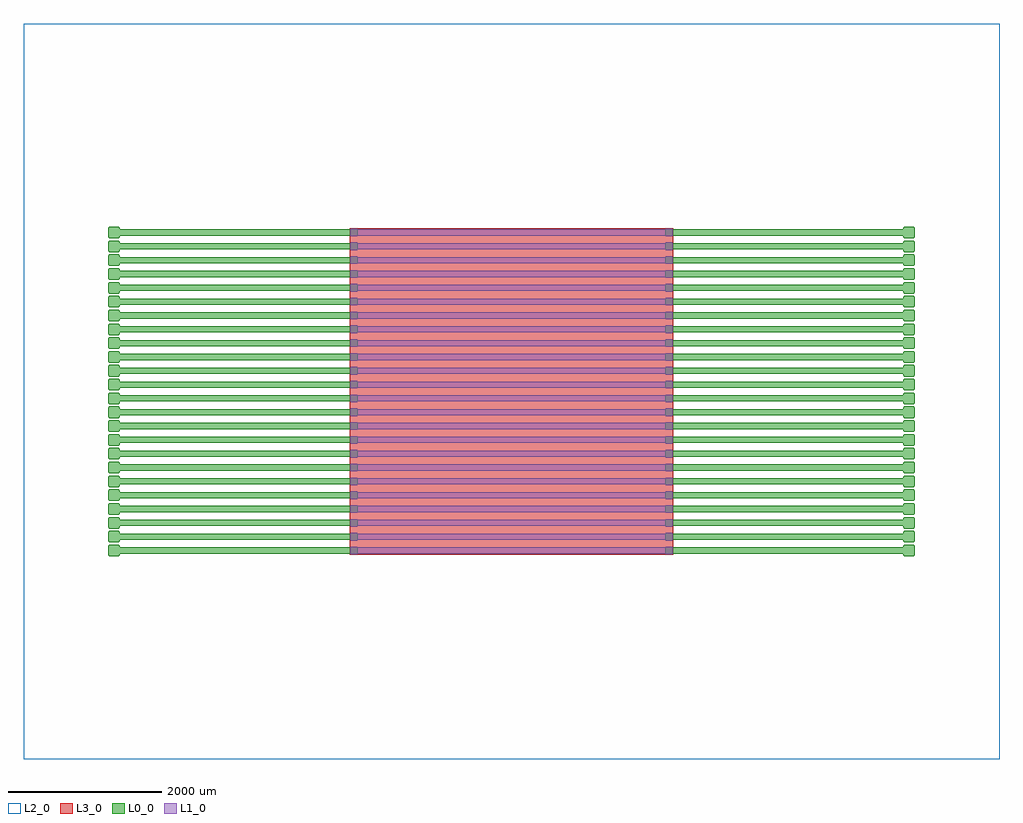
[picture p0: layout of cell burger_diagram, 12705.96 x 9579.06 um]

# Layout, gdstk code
import gdstk
lib = gdstk.Library(unit=1e-6, precision=1e-09)
def R(c, l, rs):  # rectangles x0, y0, x1, y1
    for r in rs: c.add(gdstk.rectangle(r[:2], r[2:], *l))
def P(c, l, *ps):  # polygons
    for p in ps: c.add(gdstk.Polygon(p, *l))
L0_0 = (0, 0)
L1_0 = (1, 0)
L2_0 = (2, 0)
L3_0 = (3, 0)

burger_diagram = lib.new_cell('burger_diagram')
P(burger_diagram, L0_0, [(101264.427,-74124.5),(101249.427,-74109.5),(101249.427,-74089.5),(98249.427,-74089.5),(98239.427,-74099.5),(98159.427,-74099.5),(98149.427,-74089.5),(98149.427,-74009.5),(98159.427,-73999.5),(98239.427,-73999.5),(98249.427,-74009.5),(101249.427,-74009.5),(101249.427,-73989.5),(101264.427,-73974.5),(101384.427,-73974.5),(101399.427,-73989.5),(101399.427,-74109.5),(101384.427,-74124.5)],
  [(101264.427,-75204.5),(101249.427,-75189.5),(101249.427,-75169.5),(98249.427,-75169.5),(98239.427,-75179.5),(98159.427,-75179.5),(98149.427,-75169.5),(98149.427,-75089.5),(98159.427,-75079.5),(98239.427,-75079.5),(98249.427,-75089.5),(101249.427,-75089.5),(101249.427,-75069.5),(101264.427,-75054.5),(101384.427,-75054.5),(101399.427,-75069.5),(101399.427,-75189.5),(101384.427,-75204.5)],
  [(90914.427,-75204.5),(90899.427,-75189.5),(90899.427,-75069.5),(90914.427,-75054.5),(91034.427,-75054.5),(91049.427,-75069.5),(91049.427,-75089.5),(94049.427,-75089.5),(94059.427,-75079.5),(94139.427,-75079.5),(94149.427,-75089.5),(94149.427,-75169.5),(94139.427,-75179.5),(94059.427,-75179.5),(94049.427,-75169.5),(91049.427,-75169.5),(91049.427,-75189.5),(91034.427,-75204.5)],
  [(90914.427,-75384.5),(90899.427,-75369.5),(90899.427,-75249.5),(90914.427,-75234.5),(91034.427,-75234.5),(91049.427,-75249.5),(91049.427,-75269.5),(94049.427,-75269.5),(94059.427,-75259.5),(94139.427,-75259.5),(94149.427,-75269.5),(94149.427,-75349.5),(94139.427,-75359.5),(94059.427,-75359.5),(94049.427,-75349.5),(91049.427,-75349.5),(91049.427,-75369.5),(91034.427,-75384.5)],
  [(90914.427,-76284.5),(90899.427,-76269.5),(90899.427,-76149.5),(90914.427,-76134.5),(91034.427,-76134.5),(91049.427,-76149.5),(91049.427,-76169.5),(94049.427,-76169.5),(94059.427,-76159.5),(94139.427,-76159.5),(94149.427,-76169.5),(94149.427,-76249.5),(94139.427,-76259.5),(94059.427,-76259.5),(94049.427,-76249.5),(91049.427,-76249.5),(91049.427,-76269.5),(91034.427,-76284.5)],
  [(101264.427,-77004.5),(101249.427,-76989.5),(101249.427,-76969.5),(98249.427,-76969.5),(98239.427,-76979.5),(98159.427,-76979.5),(98149.427,-76969.5),(98149.427,-76889.5),(98159.427,-76879.5),(98239.427,-76879.5),(98249.427,-76889.5),(101249.427,-76889.5),(101249.427,-76869.5),(101264.427,-76854.5),(101384.427,-76854.5),(101399.427,-76869.5),(101399.427,-76989.5),(101384.427,-77004.5)],
  [(90914.427,-74664.5),(90899.427,-74649.5),(90899.427,-74529.5),(90914.427,-74514.5),(91034.427,-74514.5),(91049.427,-74529.5),(91049.427,-74549.5),(94049.427,-74549.5),(94059.427,-74539.5),(94139.427,-74539.5),(94149.427,-74549.5),(94149.427,-74629.5),(94139.427,-74639.5),(94059.427,-74639.5),(94049.427,-74629.5),(91049.427,-74629.5),(91049.427,-74649.5),(91034.427,-74664.5)],
  [(101264.427,-77544.5),(101249.427,-77529.5),(101249.427,-77509.5),(98249.427,-77509.5),(98239.427,-77519.5),(98159.427,-77519.5),(98149.427,-77509.5),(98149.427,-77429.5),(98159.427,-77419.5),(98239.427,-77419.5),(98249.427,-77429.5),(101249.427,-77429.5),(101249.427,-77409.5),(101264.427,-77394.5),(101384.427,-77394.5),(101399.427,-77409.5),(101399.427,-77529.5),(101384.427,-77544.5)],
  [(101264.427,-73764.5),(101249.427,-73749.5),(101249.427,-73729.5),(98249.427,-73729.5),(98239.427,-73739.5),(98159.427,-73739.5),(98149.427,-73729.5),(98149.427,-73649.5),(98159.427,-73639.5),(98239.427,-73639.5),(98249.427,-73649.5),(101249.427,-73649.5),(101249.427,-73629.5),(101264.427,-73614.5),(101384.427,-73614.5),(101399.427,-73629.5),(101399.427,-73749.5),(101384.427,-73764.5)],
  [(101264.427,-74484.5),(101249.427,-74469.5),(101249.427,-74449.5),(98249.427,-74449.5),(98239.427,-74459.5),(98159.427,-74459.5),(98149.427,-74449.5),(98149.427,-74369.5),(98159.427,-74359.5),(98239.427,-74359.5),(98249.427,-74369.5),(101249.427,-74369.5),(101249.427,-74349.5),(101264.427,-74334.5),(101384.427,-74334.5),(101399.427,-74349.5),(101399.427,-74469.5),(101384.427,-74484.5)],
  [(101264.427,-73404.5),(101249.427,-73389.5),(101249.427,-73369.5),(98249.427,-73369.5),(98239.427,-73379.5),(98159.427,-73379.5),(98149.427,-73369.5),(98149.427,-73289.5),(98159.427,-73279.5),(98239.427,-73279.5),(98249.427,-73289.5),(101249.427,-73289.5),(101249.427,-73269.5),(101264.427,-73254.5),(101384.427,-73254.5),(101399.427,-73269.5),(101399.427,-73389.5),(101384.427,-73404.5)],
  [(101264.427,-75024.5),(101249.427,-75009.5),(101249.427,-74989.5),(98249.427,-74989.5),(98239.427,-74999.5),(98159.427,-74999.5),(98149.427,-74989.5),(98149.427,-74909.5),(98159.427,-74899.5),(98239.427,-74899.5),(98249.427,-74909.5),(101249.427,-74909.5),(101249.427,-74889.5),(101264.427,-74874.5),(101384.427,-74874.5),(101399.427,-74889.5),(101399.427,-75009.5),(101384.427,-75024.5)],
  [(101264.427,-77184.5),(101249.427,-77169.5),(101249.427,-77149.5),(98249.427,-77149.5),(98239.427,-77159.5),(98159.427,-77159.5),(98149.427,-77149.5),(98149.427,-77069.5),(98159.427,-77059.5),(98239.427,-77059.5),(98249.427,-77069.5),(101249.427,-77069.5),(101249.427,-77049.5),(101264.427,-77034.5),(101384.427,-77034.5),(101399.427,-77049.5),(101399.427,-77169.5),(101384.427,-77184.5)],
  [(90914.427,-76824.5),(90899.427,-76809.5),(90899.427,-76689.5),(90914.427,-76674.5),(91034.427,-76674.5),(91049.427,-76689.5),(91049.427,-76709.5),(94049.427,-76709.5),(94059.427,-76699.5),(94139.427,-76699.5),(94149.427,-76709.5),(94149.427,-76789.5),(94139.427,-76799.5),(94059.427,-76799.5),(94049.427,-76789.5),(91049.427,-76789.5),(91049.427,-76809.5),(91034.427,-76824.5)],
  [(90914.427,-73404.5),(90899.427,-73389.5),(90899.427,-73269.5),(90914.427,-73254.5),(91034.427,-73254.5),(91049.427,-73269.5),(91049.427,-73289.5),(94049.427,-73289.5),(94059.427,-73279.5),(94139.427,-73279.5),(94149.427,-73289.5),(94149.427,-73369.5),(94139.427,-73379.5),(94059.427,-73379.5),(94049.427,-73369.5),(91049.427,-73369.5),(91049.427,-73389.5),(91034.427,-73404.5)],
  [(90914.427,-75024.5),(90899.427,-75009.5),(90899.427,-74889.5),(90914.427,-74874.5),(91034.427,-74874.5),(91049.427,-74889.5),(91049.427,-74909.5),(94049.427,-74909.5),(94059.427,-74899.5),(94139.427,-74899.5),(94149.427,-74909.5),(94149.427,-74989.5),(94139.427,-74999.5),(94059.427,-74999.5),(94049.427,-74989.5),(91049.427,-74989.5),(91049.427,-75009.5),(91034.427,-75024.5)],
  [(101264.427,-73944.5),(101249.427,-73929.5),(101249.427,-73909.5),(98249.427,-73909.5),(98239.427,-73919.5),(98159.427,-73919.5),(98149.427,-73909.5),(98149.427,-73829.5),(98159.427,-73819.5),(98239.427,-73819.5),(98249.427,-73829.5),(101249.427,-73829.5),(101249.427,-73809.5),(101264.427,-73794.5),(101384.427,-73794.5),(101399.427,-73809.5),(101399.427,-73929.5),(101384.427,-73944.5)],
  [(101264.427,-76824.5),(101249.427,-76809.5),(101249.427,-76789.5),(98249.427,-76789.5),(98239.427,-76799.5),(98159.427,-76799.5),(98149.427,-76789.5),(98149.427,-76709.5),(98159.427,-76699.5),(98239.427,-76699.5),(98249.427,-76709.5),(101249.427,-76709.5),(101249.427,-76689.5),(101264.427,-76674.5),(101384.427,-76674.5),(101399.427,-76689.5),(101399.427,-76809.5),(101384.427,-76824.5)],
  [(90914.427,-77364.5),(90899.427,-77349.5),(90899.427,-77229.5),(90914.427,-77214.5),(91034.427,-77214.5),(91049.427,-77229.5),(91049.427,-77249.5),(94049.427,-77249.5),(94059.427,-77239.5),(94139.427,-77239.5),(94149.427,-77249.5),(94149.427,-77329.5),(94139.427,-77339.5),(94059.427,-77339.5),(94049.427,-77329.5),(91049.427,-77329.5),(91049.427,-77349.5),(91034.427,-77364.5)],
  [(101264.427,-76104.5),(101249.427,-76089.5),(101249.427,-76069.5),(98249.427,-76069.5),(98239.427,-76079.5),(98159.427,-76079.5),(98149.427,-76069.5),(98149.427,-75989.5),(98159.427,-75979.5),(98239.427,-75979.5),(98249.427,-75989.5),(101249.427,-75989.5),(101249.427,-75969.5),(101264.427,-75954.5),(101384.427,-75954.5),(101399.427,-75969.5),(101399.427,-76089.5),(101384.427,-76104.5)],
  [(101264.427,-74304.5),(101249.427,-74289.5),(101249.427,-74269.5),(98249.427,-74269.5),(98239.427,-74279.5),(98159.427,-74279.5),(98149.427,-74269.5),(98149.427,-74189.5),(98159.427,-74179.5),(98239.427,-74179.5),(98249.427,-74189.5),(101249.427,-74189.5),(101249.427,-74169.5),(101264.427,-74154.5),(101384.427,-74154.5),(101399.427,-74169.5),(101399.427,-74289.5),(101384.427,-74304.5)],
  [(90914.427,-74484.5),(90899.427,-74469.5),(90899.427,-74349.5),(90914.427,-74334.5),(91034.427,-74334.5),(91049.427,-74349.5),(91049.427,-74369.5),(94049.427,-74369.5),(94059.427,-74359.5),(94139.427,-74359.5),(94149.427,-74369.5),(94149.427,-74449.5),(94139.427,-74459.5),(94059.427,-74459.5),(94049.427,-74449.5),(91049.427,-74449.5),(91049.427,-74469.5),(91034.427,-74484.5)],
  [(101264.427,-76464.5),(101249.427,-76449.5),(101249.427,-76429.5),(98249.427,-76429.5),(98239.427,-76439.5),(98159.427,-76439.5),(98149.427,-76429.5),(98149.427,-76349.5),(98159.427,-76339.5),(98239.427,-76339.5),(98249.427,-76349.5),(101249.427,-76349.5),(101249.427,-76329.5),(101264.427,-76314.5),(101384.427,-76314.5),(101399.427,-76329.5),(101399.427,-76449.5),(101384.427,-76464.5)],
  [(90914.427,-73764.5),(90899.427,-73749.5),(90899.427,-73629.5),(90914.427,-73614.5),(91034.427,-73614.5),(91049.427,-73629.5),(91049.427,-73649.5),(94049.427,-73649.5),(94059.427,-73639.5),(94139.427,-73639.5),(94149.427,-73649.5),(94149.427,-73729.5),(94139.427,-73739.5),(94059.427,-73739.5),(94049.427,-73729.5),(91049.427,-73729.5),(91049.427,-73749.5),(91034.427,-73764.5)],
  [(101264.427,-74664.5),(101249.427,-74649.5),(101249.427,-74629.5),(98249.427,-74629.5),(98239.427,-74639.5),(98159.427,-74639.5),(98149.427,-74629.5),(98149.427,-74549.5),(98159.427,-74539.5),(98239.427,-74539.5),(98249.427,-74549.5),(101249.427,-74549.5),(101249.427,-74529.5),(101264.427,-74514.5),(101384.427,-74514.5),(101399.427,-74529.5),(101399.427,-74649.5),(101384.427,-74664.5)],
  [(101264.427,-75924.5),(101249.427,-75909.5),(101249.427,-75889.5),(98249.427,-75889.5),(98239.427,-75899.5),(98159.427,-75899.5),(98149.427,-75889.5),(98149.427,-75809.5),(98159.427,-75799.5),(98239.427,-75799.5),(98249.427,-75809.5),(101249.427,-75809.5),(101249.427,-75789.5),(101264.427,-75774.5),(101384.427,-75774.5),(101399.427,-75789.5),(101399.427,-75909.5),(101384.427,-75924.5)],
  [(90914.427,-77184.5),(90899.427,-77169.5),(90899.427,-77049.5),(90914.427,-77034.5),(91034.427,-77034.5),(91049.427,-77049.5),(91049.427,-77069.5),(94049.427,-77069.5),(94059.427,-77059.5),(94139.427,-77059.5),(94149.427,-77069.5),(94149.427,-77149.5),(94139.427,-77159.5),(94059.427,-77159.5),(94049.427,-77149.5),(91049.427,-77149.5),(91049.427,-77169.5),(91034.427,-77184.5)],
  [(101264.427,-73584.5),(101249.427,-73569.5),(101249.427,-73549.5),(98249.427,-73549.5),(98239.427,-73559.5),(98159.427,-73559.5),(98149.427,-73549.5),(98149.427,-73469.5),(98159.427,-73459.5),(98239.427,-73459.5),(98249.427,-73469.5),(101249.427,-73469.5),(101249.427,-73449.5),(101264.427,-73434.5),(101384.427,-73434.5),(101399.427,-73449.5),(101399.427,-73569.5),(101384.427,-73584.5)],
  [(90914.427,-76104.5),(90899.427,-76089.5),(90899.427,-75969.5),(90914.427,-75954.5),(91034.427,-75954.5),(91049.427,-75969.5),(91049.427,-75989.5),(94049.427,-75989.5),(94059.427,-75979.5),(94139.427,-75979.5),(94149.427,-75989.5),(94149.427,-76069.5),(94139.427,-76079.5),(94059.427,-76079.5),(94049.427,-76069.5),(91049.427,-76069.5),(91049.427,-76089.5),(91034.427,-76104.5)],
  [(90914.427,-76464.5),(90899.427,-76449.5),(90899.427,-76329.5),(90914.427,-76314.5),(91034.427,-76314.5),(91049.427,-76329.5),(91049.427,-76349.5),(94049.427,-76349.5),(94059.427,-76339.5),(94139.427,-76339.5),(94149.427,-76349.5),(94149.427,-76429.5),(94139.427,-76439.5),(94059.427,-76439.5),(94049.427,-76429.5),(91049.427,-76429.5),(91049.427,-76449.5),(91034.427,-76464.5)],
  [(101264.427,-76284.5),(101249.427,-76269.5),(101249.427,-76249.5),(98249.427,-76249.5),(98239.427,-76259.5),(98159.427,-76259.5),(98149.427,-76249.5),(98149.427,-76169.5),(98159.427,-76159.5),(98239.427,-76159.5),(98249.427,-76169.5),(101249.427,-76169.5),(101249.427,-76149.5),(101264.427,-76134.5),(101384.427,-76134.5),(101399.427,-76149.5),(101399.427,-76269.5),(101384.427,-76284.5)],
  [(101264.427,-76644.5),(101249.427,-76629.5),(101249.427,-76609.5),(98249.427,-76609.5),(98239.427,-76619.5),(98159.427,-76619.5),(98149.427,-76609.5),(98149.427,-76529.5),(98159.427,-76519.5),(98239.427,-76519.5),(98249.427,-76529.5),(101249.427,-76529.5),(101249.427,-76509.5),(101264.427,-76494.5),(101384.427,-76494.5),(101399.427,-76509.5),(101399.427,-76629.5),(101384.427,-76644.5)],
  [(101264.427,-77364.5),(101249.427,-77349.5),(101249.427,-77329.5),(98249.427,-77329.5),(98239.427,-77339.5),(98159.427,-77339.5),(98149.427,-77329.5),(98149.427,-77249.5),(98159.427,-77239.5),(98239.427,-77239.5),(98249.427,-77249.5),(101249.427,-77249.5),(101249.427,-77229.5),(101264.427,-77214.5),(101384.427,-77214.5),(101399.427,-77229.5),(101399.427,-77349.5),(101384.427,-77364.5)],
  [(90914.427,-74844.5),(90899.427,-74829.5),(90899.427,-74709.5),(90914.427,-74694.5),(91034.427,-74694.5),(91049.427,-74709.5),(91049.427,-74729.5),(94049.427,-74729.5),(94059.427,-74719.5),(94139.427,-74719.5),(94149.427,-74729.5),(94149.427,-74809.5),(94139.427,-74819.5),(94059.427,-74819.5),(94049.427,-74809.5),(91049.427,-74809.5),(91049.427,-74829.5),(91034.427,-74844.5)],
  [(90914.427,-73584.5),(90899.427,-73569.5),(90899.427,-73449.5),(90914.427,-73434.5),(91034.427,-73434.5),(91049.427,-73449.5),(91049.427,-73469.5),(94049.427,-73469.5),(94059.427,-73459.5),(94139.427,-73459.5),(94149.427,-73469.5),(94149.427,-73549.5),(94139.427,-73559.5),(94059.427,-73559.5),(94049.427,-73549.5),(91049.427,-73549.5),(91049.427,-73569.5),(91034.427,-73584.5)],
  [(101264.427,-75744.5),(101249.427,-75729.5),(101249.427,-75709.5),(98249.427,-75709.5),(98239.427,-75719.5),(98159.427,-75719.5),(98149.427,-75709.5),(98149.427,-75629.5),(98159.427,-75619.5),(98239.427,-75619.5),(98249.427,-75629.5),(101249.427,-75629.5),(101249.427,-75609.5),(101264.427,-75594.5),(101384.427,-75594.5),(101399.427,-75609.5),(101399.427,-75729.5),(101384.427,-75744.5)],
  [(101264.427,-74844.5),(101249.427,-74829.5),(101249.427,-74809.5),(98249.427,-74809.5),(98239.427,-74819.5),(98159.427,-74819.5),(98149.427,-74809.5),(98149.427,-74729.5),(98159.427,-74719.5),(98239.427,-74719.5),(98249.427,-74729.5),(101249.427,-74729.5),(101249.427,-74709.5),(101264.427,-74694.5),(101384.427,-74694.5),(101399.427,-74709.5),(101399.427,-74829.5),(101384.427,-74844.5)],
  [(90914.427,-74304.5),(90899.427,-74289.5),(90899.427,-74169.5),(90914.427,-74154.5),(91034.427,-74154.5),(91049.427,-74169.5),(91049.427,-74189.5),(94049.427,-74189.5),(94059.427,-74179.5),(94139.427,-74179.5),(94149.427,-74189.5),(94149.427,-74269.5),(94139.427,-74279.5),(94059.427,-74279.5),(94049.427,-74269.5),(91049.427,-74269.5),(91049.427,-74289.5),(91034.427,-74304.5)],
  [(90914.427,-75924.5),(90899.427,-75909.5),(90899.427,-75789.5),(90914.427,-75774.5),(91034.427,-75774.5),(91049.427,-75789.5),(91049.427,-75809.5),(94049.427,-75809.5),(94059.427,-75799.5),(94139.427,-75799.5),(94149.427,-75809.5),(94149.427,-75889.5),(94139.427,-75899.5),(94059.427,-75899.5),(94049.427,-75889.5),(91049.427,-75889.5),(91049.427,-75909.5),(91034.427,-75924.5)],
  [(90914.427,-77004.5),(90899.427,-76989.5),(90899.427,-76869.5),(90914.427,-76854.5),(91034.427,-76854.5),(91049.427,-76869.5),(91049.427,-76889.5),(94049.427,-76889.5),(94059.427,-76879.5),(94139.427,-76879.5),(94149.427,-76889.5),(94149.427,-76969.5),(94139.427,-76979.5),(94059.427,-76979.5),(94049.427,-76969.5),(91049.427,-76969.5),(91049.427,-76989.5),(91034.427,-77004.5)],
  [(101264.427,-75564.5),(101249.427,-75549.5),(101249.427,-75529.5),(98249.427,-75529.5),(98239.427,-75539.5),(98159.427,-75539.5),(98149.427,-75529.5),(98149.427,-75449.5),(98159.427,-75439.5),(98239.427,-75439.5),(98249.427,-75449.5),(101249.427,-75449.5),(101249.427,-75429.5),(101264.427,-75414.5),(101384.427,-75414.5),(101399.427,-75429.5),(101399.427,-75549.5),(101384.427,-75564.5)],
  [(90914.427,-74124.5),(90899.427,-74109.5),(90899.427,-73989.5),(90914.427,-73974.5),(91034.427,-73974.5),(91049.427,-73989.5),(91049.427,-74009.5),(94049.427,-74009.5),(94059.427,-73999.5),(94139.427,-73999.5),(94149.427,-74009.5),(94149.427,-74089.5),(94139.427,-74099.5),(94059.427,-74099.5),(94049.427,-74089.5),(91049.427,-74089.5),(91049.427,-74109.5),(91034.427,-74124.5)],
  [(90914.427,-75744.5),(90899.427,-75729.5),(90899.427,-75609.5),(90914.427,-75594.5),(91034.427,-75594.5),(91049.427,-75609.5),(91049.427,-75629.5),(94049.427,-75629.5),(94059.427,-75619.5),(94139.427,-75619.5),(94149.427,-75629.5),(94149.427,-75709.5),(94139.427,-75719.5),(94059.427,-75719.5),(94049.427,-75709.5),(91049.427,-75709.5),(91049.427,-75729.5),(91034.427,-75744.5)],
  [(101264.427,-75384.5),(101249.427,-75369.5),(101249.427,-75349.5),(98249.427,-75349.5),(98239.427,-75359.5),(98159.427,-75359.5),(98149.427,-75349.5),(98149.427,-75269.5),(98159.427,-75259.5),(98239.427,-75259.5),(98249.427,-75269.5),(101249.427,-75269.5),(101249.427,-75249.5),(101264.427,-75234.5),(101384.427,-75234.5),(101399.427,-75249.5),(101399.427,-75369.5),(101384.427,-75384.5)],
  [(90914.427,-75564.5),(90899.427,-75549.5),(90899.427,-75429.5),(90914.427,-75414.5),(91034.427,-75414.5),(91049.427,-75429.5),(91049.427,-75449.5),(94049.427,-75449.5),(94059.427,-75439.5),(94139.427,-75439.5),(94149.427,-75449.5),(94149.427,-75529.5),(94139.427,-75539.5),(94059.427,-75539.5),(94049.427,-75529.5),(91049.427,-75529.5),(91049.427,-75549.5),(91034.427,-75564.5)],
  [(90914.427,-73944.5),(90899.427,-73929.5),(90899.427,-73809.5),(90914.427,-73794.5),(91034.427,-73794.5),(91049.427,-73809.5),(91049.427,-73829.5),(94049.427,-73829.5),(94059.427,-73819.5),(94139.427,-73819.5),(94149.427,-73829.5),(94149.427,-73909.5),(94139.427,-73919.5),(94059.427,-73919.5),(94049.427,-73909.5),(91049.427,-73909.5),(91049.427,-73929.5),(91034.427,-73944.5)],
  [(90914.427,-76644.5),(90899.427,-76629.5),(90899.427,-76509.5),(90914.427,-76494.5),(91034.427,-76494.5),(91049.427,-76509.5),(91049.427,-76529.5),(94049.427,-76529.5),(94059.427,-76519.5),(94139.427,-76519.5),(94149.427,-76529.5),(94149.427,-76609.5),(94139.427,-76619.5),(94059.427,-76619.5),(94049.427,-76609.5),(91049.427,-76609.5),(91049.427,-76629.5),(91034.427,-76644.5)],
  [(90914.427,-77544.5),(90899.427,-77529.5),(90899.427,-77409.5),(90914.427,-77394.5),(91034.427,-77394.5),(91049.427,-77409.5),(91049.427,-77429.5),(94049.427,-77429.5),(94059.427,-77419.5),(94139.427,-77419.5),(94149.427,-77429.5),(94149.427,-77509.5),(94139.427,-77519.5),(94059.427,-77519.5),(94049.427,-77509.5),(91049.427,-77509.5),(91049.427,-77529.5),(91034.427,-77544.5)])
P(burger_diagram, L1_0, [(94059.427,-76079.5),(94049.427,-76069.5),(94049.427,-75989.5),(94059.427,-75979.5),(94139.427,-75979.5),(94149.427,-75989.5),(98149.427,-75989.5),(98159.427,-75979.5),(98239.427,-75979.5),(98249.427,-75989.5),(98249.427,-76069.5),(98239.427,-76079.5),(98159.427,-76079.5),(98149.427,-76069.5),(94149.427,-76069.5),(94139.427,-76079.5)],
  [(94059.427,-76799.5),(94049.427,-76789.5),(94049.427,-76709.5),(94059.427,-76699.5),(94139.427,-76699.5),(94149.427,-76709.5),(98149.427,-76709.5),(98159.427,-76699.5),(98239.427,-76699.5),(98249.427,-76709.5),(98249.427,-76789.5),(98239.427,-76799.5),(98159.427,-76799.5),(98149.427,-76789.5),(94149.427,-76789.5),(94139.427,-76799.5)],
  [(94059.427,-75539.5),(94049.427,-75529.5),(94049.427,-75449.5),(94059.427,-75439.5),(94139.427,-75439.5),(94149.427,-75449.5),(98149.427,-75449.5),(98159.427,-75439.5),(98239.427,-75439.5),(98249.427,-75449.5),(98249.427,-75529.5),(98239.427,-75539.5),(98159.427,-75539.5),(98149.427,-75529.5),(94149.427,-75529.5),(94139.427,-75539.5)],
  [(94059.427,-75899.5),(94049.427,-75889.5),(94049.427,-75809.5),(94059.427,-75799.5),(94139.427,-75799.5),(94149.427,-75809.5),(98149.427,-75809.5),(98159.427,-75799.5),(98239.427,-75799.5),(98249.427,-75809.5),(98249.427,-75889.5),(98239.427,-75899.5),(98159.427,-75899.5),(98149.427,-75889.5),(94149.427,-75889.5),(94139.427,-75899.5)],
  [(94059.427,-76439.5),(94049.427,-76429.5),(94049.427,-76349.5),(94059.427,-76339.5),(94139.427,-76339.5),(94149.427,-76349.5),(98149.427,-76349.5),(98159.427,-76339.5),(98239.427,-76339.5),(98249.427,-76349.5),(98249.427,-76429.5),(98239.427,-76439.5),(98159.427,-76439.5),(98149.427,-76429.5),(94149.427,-76429.5),(94139.427,-76439.5)],
  [(94059.427,-75179.5),(94049.427,-75169.5),(94049.427,-75089.5),(94059.427,-75079.5),(94139.427,-75079.5),(94149.427,-75089.5),(98149.427,-75089.5),(98159.427,-75079.5),(98239.427,-75079.5),(98249.427,-75089.5),(98249.427,-75169.5),(98239.427,-75179.5),(98159.427,-75179.5),(98149.427,-75169.5),(94149.427,-75169.5),(94139.427,-75179.5)],
  [(94059.427,-75359.5),(94049.427,-75349.5),(94049.427,-75269.5),(94059.427,-75259.5),(94139.427,-75259.5),(94149.427,-75269.5),(98149.427,-75269.5),(98159.427,-75259.5),(98239.427,-75259.5),(98249.427,-75269.5),(98249.427,-75349.5),(98239.427,-75359.5),(98159.427,-75359.5),(98149.427,-75349.5),(94149.427,-75349.5),(94139.427,-75359.5)],
  [(94059.427,-74459.5),(94049.427,-74449.5),(94049.427,-74369.5),(94059.427,-74359.5),(94139.427,-74359.5),(94149.427,-74369.5),(98149.427,-74369.5),(98159.427,-74359.5),(98239.427,-74359.5),(98249.427,-74369.5),(98249.427,-74449.5),(98239.427,-74459.5),(98159.427,-74459.5),(98149.427,-74449.5),(94149.427,-74449.5),(94139.427,-74459.5)],
  [(94059.427,-76979.5),(94049.427,-76969.5),(94049.427,-76889.5),(94059.427,-76879.5),(94139.427,-76879.5),(94149.427,-76889.5),(98149.427,-76889.5),(98159.427,-76879.5),(98239.427,-76879.5),(98249.427,-76889.5),(98249.427,-76969.5),(98239.427,-76979.5),(98159.427,-76979.5),(98149.427,-76969.5),(94149.427,-76969.5),(94139.427,-76979.5)],
  [(94059.427,-73559.5),(94049.427,-73549.5),(94049.427,-73469.5),(94059.427,-73459.5),(94139.427,-73459.5),(94149.427,-73469.5),(98149.427,-73469.5),(98159.427,-73459.5),(98239.427,-73459.5),(98249.427,-73469.5),(98249.427,-73549.5),(98239.427,-73559.5),(98159.427,-73559.5),(98149.427,-73549.5),(94149.427,-73549.5),(94139.427,-73559.5)],
  [(94059.427,-77519.5),(94049.427,-77509.5),(94049.427,-77429.5),(94059.427,-77419.5),(94139.427,-77419.5),(94149.427,-77429.5),(98149.427,-77429.5),(98159.427,-77419.5),(98239.427,-77419.5),(98249.427,-77429.5),(98249.427,-77509.5),(98239.427,-77519.5),(98159.427,-77519.5),(98149.427,-77509.5),(94149.427,-77509.5),(94139.427,-77519.5)],
  [(94059.427,-73739.5),(94049.427,-73729.5),(94049.427,-73649.5),(94059.427,-73639.5),(94139.427,-73639.5),(94149.427,-73649.5),(98149.427,-73649.5),(98159.427,-73639.5),(98239.427,-73639.5),(98249.427,-73649.5),(98249.427,-73729.5),(98239.427,-73739.5),(98159.427,-73739.5),(98149.427,-73729.5),(94149.427,-73729.5),(94139.427,-73739.5)],
  [(94059.427,-77159.5),(94049.427,-77149.5),(94049.427,-77069.5),(94059.427,-77059.5),(94139.427,-77059.5),(94149.427,-77069.5),(98149.427,-77069.5),(98159.427,-77059.5),(98239.427,-77059.5),(98249.427,-77069.5),(98249.427,-77149.5),(98239.427,-77159.5),(98159.427,-77159.5),(98149.427,-77149.5),(94149.427,-77149.5),(94139.427,-77159.5)],
  [(94059.427,-74999.5),(94049.427,-74989.5),(94049.427,-74909.5),(94059.427,-74899.5),(94139.427,-74899.5),(94149.427,-74909.5),(98149.427,-74909.5),(98159.427,-74899.5),(98239.427,-74899.5),(98249.427,-74909.5),(98249.427,-74989.5),(98239.427,-74999.5),(98159.427,-74999.5),(98149.427,-74989.5),(94149.427,-74989.5),(94139.427,-74999.5)],
  [(94059.427,-73919.5),(94049.427,-73909.5),(94049.427,-73829.5),(94059.427,-73819.5),(94139.427,-73819.5),(94149.427,-73829.5),(98149.427,-73829.5),(98159.427,-73819.5),(98239.427,-73819.5),(98249.427,-73829.5),(98249.427,-73909.5),(98239.427,-73919.5),(98159.427,-73919.5),(98149.427,-73909.5),(94149.427,-73909.5),(94139.427,-73919.5)],
  [(94059.427,-74639.5),(94049.427,-74629.5),(94049.427,-74549.5),(94059.427,-74539.5),(94139.427,-74539.5),(94149.427,-74549.5),(98149.427,-74549.5),(98159.427,-74539.5),(98239.427,-74539.5),(98249.427,-74549.5),(98249.427,-74629.5),(98239.427,-74639.5),(98159.427,-74639.5),(98149.427,-74629.5),(94149.427,-74629.5),(94139.427,-74639.5)],
  [(94059.427,-73379.5),(94049.427,-73369.5),(94049.427,-73289.5),(94059.427,-73279.5),(94139.427,-73279.5),(94149.427,-73289.5),(98149.427,-73289.5),(98159.427,-73279.5),(98239.427,-73279.5),(98249.427,-73289.5),(98249.427,-73369.5),(98239.427,-73379.5),(98159.427,-73379.5),(98149.427,-73369.5),(94149.427,-73369.5),(94139.427,-73379.5)],
  [(94059.427,-76259.5),(94049.427,-76249.5),(94049.427,-76169.5),(94059.427,-76159.5),(94139.427,-76159.5),(94149.427,-76169.5),(98149.427,-76169.5),(98159.427,-76159.5),(98239.427,-76159.5),(98249.427,-76169.5),(98249.427,-76249.5),(98239.427,-76259.5),(98159.427,-76259.5),(98149.427,-76249.5),(94149.427,-76249.5),(94139.427,-76259.5)],
  [(94059.427,-74099.5),(94049.427,-74089.5),(94049.427,-74009.5),(94059.427,-73999.5),(94139.427,-73999.5),(94149.427,-74009.5),(98149.427,-74009.5),(98159.427,-73999.5),(98239.427,-73999.5),(98249.427,-74009.5),(98249.427,-74089.5),(98239.427,-74099.5),(98159.427,-74099.5),(98149.427,-74089.5),(94149.427,-74089.5),(94139.427,-74099.5)],
  [(94059.427,-77339.5),(94049.427,-77329.5),(94049.427,-77249.5),(94059.427,-77239.5),(94139.427,-77239.5),(94149.427,-77249.5),(98149.427,-77249.5),(98159.427,-77239.5),(98239.427,-77239.5),(98249.427,-77249.5),(98249.427,-77329.5),(98239.427,-77339.5),(98159.427,-77339.5),(98149.427,-77329.5),(94149.427,-77329.5),(94139.427,-77339.5)],
  [(94059.427,-76619.5),(94049.427,-76609.5),(94049.427,-76529.5),(94059.427,-76519.5),(94139.427,-76519.5),(94149.427,-76529.5),(98149.427,-76529.5),(98159.427,-76519.5),(98239.427,-76519.5),(98249.427,-76529.5),(98249.427,-76609.5),(98239.427,-76619.5),(98159.427,-76619.5),(98149.427,-76609.5),(94149.427,-76609.5),(94139.427,-76619.5)],
  [(94059.427,-75719.5),(94049.427,-75709.5),(94049.427,-75629.5),(94059.427,-75619.5),(94139.427,-75619.5),(94149.427,-75629.5),(98149.427,-75629.5),(98159.427,-75619.5),(98239.427,-75619.5),(98249.427,-75629.5),(98249.427,-75709.5),(98239.427,-75719.5),(98159.427,-75719.5),(98149.427,-75709.5),(94149.427,-75709.5),(94139.427,-75719.5)],
  [(94059.427,-74819.5),(94049.427,-74809.5),(94049.427,-74729.5),(94059.427,-74719.5),(94139.427,-74719.5),(94149.427,-74729.5),(98149.427,-74729.5),(98159.427,-74719.5),(98239.427,-74719.5),(98249.427,-74729.5),(98249.427,-74809.5),(98239.427,-74819.5),(98159.427,-74819.5),(98149.427,-74809.5),(94149.427,-74809.5),(94139.427,-74819.5)],
  [(94059.427,-74279.5),(94049.427,-74269.5),(94049.427,-74189.5),(94059.427,-74179.5),(94139.427,-74179.5),(94149.427,-74189.5),(98149.427,-74189.5),(98159.427,-74179.5),(98239.427,-74179.5),(98249.427,-74189.5),(98249.427,-74269.5),(98239.427,-74279.5),(98159.427,-74279.5),(98149.427,-74269.5),(94149.427,-74269.5),(94139.427,-74279.5)])
R(burger_diagram, L2_0, [(89796.446,-80189.03,102502.409,-70609.971)])
R(burger_diagram, L3_0, [(94046.76,-77524.368,98257.002,-73276.437)])

lib.write_gds('burger_diagram.gds')
